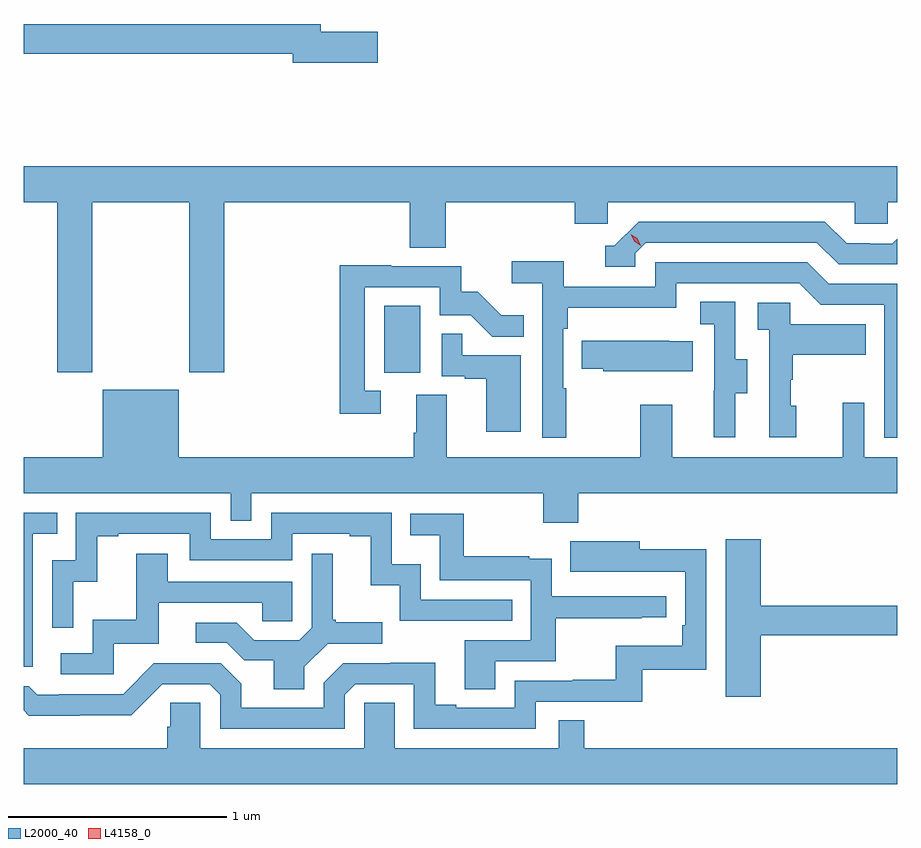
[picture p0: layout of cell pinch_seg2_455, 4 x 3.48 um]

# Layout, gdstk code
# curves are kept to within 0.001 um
import gdstk
lib = gdstk.Library(unit=1e-6, precision=1e-09)
def R(c, l, rs):  # rectangles x0, y0, x1, y1
    for r in rs: c.add(gdstk.rectangle(r[:2], r[2:], *l))
def P(c, l, *ps):  # polygons
    for p in ps: c.add(gdstk.Polygon(p, *l))
L2000_40 = (2000, 40)
L4158_0 = (4158, 0)

pinch_seg2_455 = lib.new_cell('pinch_seg2_455')
R(pinch_seg2_455, L2000_40, [(912.794,598.902,912.958,599.209)])
P(pinch_seg2_455, L2000_40, [(912.763,600.464),(912.502,600.464),(912.502,600.5),(911.143,600.5),(911.143,600.364),(912.374,600.364),(912.374,600.322),(912.763,600.322)],
  [(911.143,599.684),(911.297,599.684),(911.297,598.905),(911.457,598.905),(911.457,599.684),(911.902,599.684),(911.902,598.905),(912.062,598.905),(912.062,599.684),(912.911,599.684),(912.911,599.476),(913.076,599.476),(913.076,599.684),(913.667,599.684),(913.667,599.586),(913.818,599.586),(913.818,599.684),(914.949,599.684),(914.949,599.586),(915.099,599.586),(915.099,599.684),(915.143,599.684),(915.143,599.848),(911.143,599.848)],
  [(913.944,599.451),(913.992,599.499),(914.775,599.499),(914.874,599.4),(915.143,599.4),(915.143,599.516),(915.121,599.493),(915.018,599.493),(915.018,599.496),(914.911,599.496),(914.812,599.595),(913.959,599.595),(913.848,599.484),(913.805,599.484),(913.805,599.388),(913.944,599.388)],
  [(913.627,598.832),(913.614,598.832),(913.614,599.105),(913.634,599.105),(913.634,599.201),(914.13,599.201),(914.13,599.313),(914.694,599.313),(914.793,599.214),(915.084,599.214),(915.084,598.605),(915.143,598.605),(915.143,599.31),(914.83,599.31),(914.731,599.409),(914.034,599.409),(914.034,599.298),(913.616,599.298),(913.616,599.414),(913.377,599.414),(913.377,599.312),(913.518,599.312),(913.518,598.605),(913.627,598.605)],
  [(912.778,598.821),(912.705,598.821),(912.705,599.295),(913.047,599.295),(913.047,599.166),(913.191,599.166),(913.289,599.068),(913.433,599.068),(913.433,599.167),(913.329,599.167),(913.222,599.274),(913.146,599.274),(913.146,599.391),(912.827,599.391),(912.827,599.396),(912.589,599.396),(912.589,598.716),(912.778,598.716)],
  [(914.401,598.81),(914.455,598.81),(914.455,598.965),(914.4,598.965),(914.4,599.228),(914.241,599.228),(914.241,599.125),(914.304,599.125),(914.304,598.821),(914.303,598.821),(914.303,598.608),(914.401,598.608)],
  [(914.68,598.752),(914.655,598.752),(914.655,598.871),(914.665,598.871),(914.665,598.985),(914.999,598.985),(914.999,599.125),(914.652,599.125),(914.652,599.223),(914.505,599.223),(914.505,599.099),(914.556,599.099),(914.556,598.608),(914.68,598.608)],
  [(913.42,598.983),(913.151,598.983),(913.151,599.081),(913.056,599.081),(913.056,598.887),(913.163,598.887),(913.163,598.875),(913.262,598.875),(913.262,598.632),(913.42,598.632)],
  [(914.207,599.047),(914.099,599.047),(914.099,599.05),(913.699,599.05),(913.699,598.921),(913.797,598.921),(913.797,598.91),(914.207,598.91)],
  [(913.682,598.352),(915.143,598.352),(915.143,598.516),(914.991,598.516),(914.991,598.765),(914.894,598.765),(914.894,598.516),(914.113,598.516),(914.113,598.756),(913.966,598.756),(913.966,598.516),(913.081,598.516),(913.081,598.802),(912.941,598.802),(912.941,598.628),(912.929,598.628),(912.929,598.516),(911.854,598.516),(911.854,598.825),(911.504,598.825),(911.504,598.516),(911.143,598.516),(911.143,598.352),(912.09,598.352),(912.09,598.225),(912.186,598.225),(912.186,598.352),(913.522,598.352),(913.522,598.217),(913.682,598.217)],
  [(911.184,598.167),(911.297,598.167),(911.297,598.263),(911.143,598.263),(911.143,597.558),(911.184,597.558)],
  [(911.37,597.947),(911.48,597.947),(911.48,598.155),(911.575,598.155),(911.575,598.167),(911.904,598.167),(911.904,598.044),(912.372,598.044),(912.372,598.167),(912.635,598.167),(912.635,598.155),(912.731,598.155),(912.731,597.929),(912.864,597.929),(912.864,597.768),(913.379,597.768),(913.379,597.864),(912.96,597.864),(912.96,598.027),(912.828,598.027),(912.828,598.263),(912.276,598.263),(912.276,598.14),(912,598.14),(912,598.263),(911.382,598.263),(911.382,598.044),(911.274,598.044),(911.274,597.735),(911.37,597.735)],
  [(913.303,597.582),(913.58,597.582),(913.58,597.778),(913.973,597.778),(913.973,597.783),(914.086,597.783),(914.086,597.879),(913.56,597.879),(913.56,598.051),(913.457,598.051),(913.457,598.063),(913.159,598.063),(913.159,598.257),(912.913,598.257),(912.913,598.16),(913.048,598.16),(913.048,597.954),(913.464,597.954),(913.464,597.678),(913.163,597.678),(913.163,597.454),(913.303,597.454)],
  [(914.518,597.7),(915.143,597.7),(915.143,597.836),(914.518,597.836),(914.518,598.141),(914.357,598.141),(914.357,597.42),(914.518,597.42)],
  [(912.612,597.429),(912.66,597.477),(912.93,597.477),(912.93,597.273),(913.488,597.273),(913.488,597.396),(913.975,597.396),(913.975,597.543),(914.268,597.543),(914.268,598.094),(913.963,598.094),(913.963,598.132),(913.645,598.132),(913.645,597.992),(914.172,597.993),(914.172,597.748),(914.159,597.748),(914.159,597.652),(913.854,597.652),(913.854,597.497),(913.657,597.497),(913.657,597.492),(913.392,597.492),(913.392,597.369),(913.123,597.369),(913.123,597.382),(913.027,597.382),(913.027,597.575),(912.822,597.575),(912.822,597.573),(912.606,597.573),(912.516,597.483),(912.516,597.369),(912.139,597.369),(912.139,597.479),(912.045,597.573),(911.739,597.573),(911.598,597.432),(911.305,597.432),(911.305,597.429),(911.206,597.429),(911.167,597.468),(911.143,597.468),(911.143,597.357),(911.167,597.333),(911.4,597.333),(911.4,597.335),(911.636,597.335),(911.778,597.477),(911.994,597.477),(912.042,597.429),(912.042,597.273),(912.612,597.273)],
  [(911.556,597.663),(911.761,597.663),(911.761,597.849),(912.235,597.849),(912.235,597.765),(912.372,597.765),(912.372,597.945),(911.803,597.945),(911.803,598.075),(911.659,598.075),(911.659,597.772),(911.46,597.772),(911.46,597.618),(911.313,597.618),(911.313,597.522),(911.556,597.522)],
  [(912.427,597.556),(912.534,597.663),(912.784,597.663),(912.784,597.76),(912.571,597.76),(912.571,597.772),(912.559,597.772),(912.559,598.075),(912.462,598.075),(912.462,597.735),(912.405,597.678),(912.199,597.678),(912.118,597.759),(911.931,597.759),(911.931,597.666),(912.072,597.666),(912.152,597.586),(912.287,597.586),(912.287,597.454),(912.427,597.454)],
  [(915.143,597.184),(913.709,597.184),(913.709,597.311),(913.593,597.311),(913.593,597.184),(912.841,597.184),(912.841,597.392),(912.702,597.392),(912.702,597.184),(911.952,597.184),(911.952,597.392),(911.815,597.392),(911.815,597.282),(911.801,597.282),(911.801,597.184),(911.143,597.184),(911.143,597.02),(915.143,597.02)])
P(pinch_seg2_455, L4158_0, [(913.968,599.485),(913.938,599.505),(913.922,599.538),(913.922,599.538),(913.923,599.538),(913.953,599.518),(913.968,599.485),(913.968,599.485)])

lib.write_gds('pinch_seg2_455.gds')
